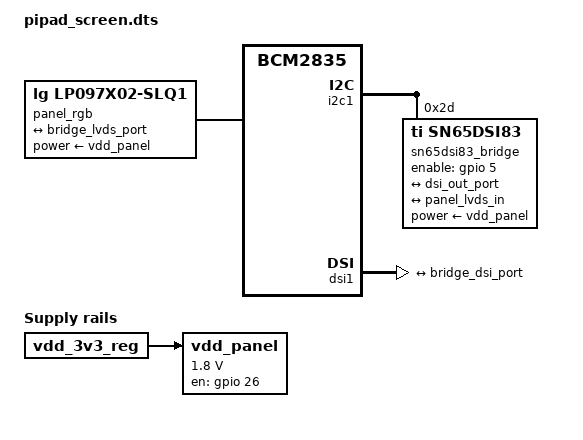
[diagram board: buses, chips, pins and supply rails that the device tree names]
/dts-v1/;
/plugin/;


/ {
    compatible = "brcm,bcm2835";
    fragment@0 {
        target-path = "/";
        __overlay__ {
            vdd_panel: fixedregulator {
                regulator-boot-on;
                compatible = "regulator-fixed";
                regulator-name = "lvds18";
                regulator-min-microvolt = <1800000>;
                regulator-max-microvolt = <1800000>;
                gpio = <&gpio 26 0>;
                startup-delay-us = <70000>;
                enable-active-high;
                vin-supply = <&vdd_3v3_reg>;
            };

            panel_rgb: panel {
              compatible = "lg,lp097x02-slq1";
              // compatible = "koe,tx31d200vm0baa";
              power-supply = <&vdd_panel>;
              status = "okay";
              port {
                panel_lvds_in: endpoint {
                  remote-endpoint = <&bridge_lvds_port>;
                };
              };
            };
        };
    };

    fragment@1 {
        target = <&i2c1>;
        __overlay__ {
            #address-cells = <1>;
            #size-cells = <0>;
            status = "okay";

            sn65dsi83_bridge: bridge@2d {
                compatible = "ti,sn65dsi83";
                reg = <0x2d>;
                status = "okay";
                enable-gpios = <&gpio 5 0>;
                power-supply = <&vdd_panel>;

                ports {                
                    #address-cells = <1>;
                    #size-cells = <0>;
                    port@0 {
                        reg = <0>; // TODO: double-check
                        bridge_dsi_port: endpoint {
                            data-lanes = <1 2 3 4>;
                            remote-endpoint = <&dsi_out_port>;
                        };
                    };

                    port@2{
                        reg = <2>;
                        bridge_lvds_port: endpoint {
                            remote-endpoint = <&panel_lvds_in>;
                        };
                    };
                };
            };
        };
    };

    fragment@2 {
        target = <&dsi1>;
        __overlay__ {
            compatible = "brcm,bcm2711-dsi1";
            status = "okay";
            port {
                dsi_out_port: endpoint {
                    remote-endpoint = <&bridge_dsi_port>;
                };
            };
        };
    };
};
